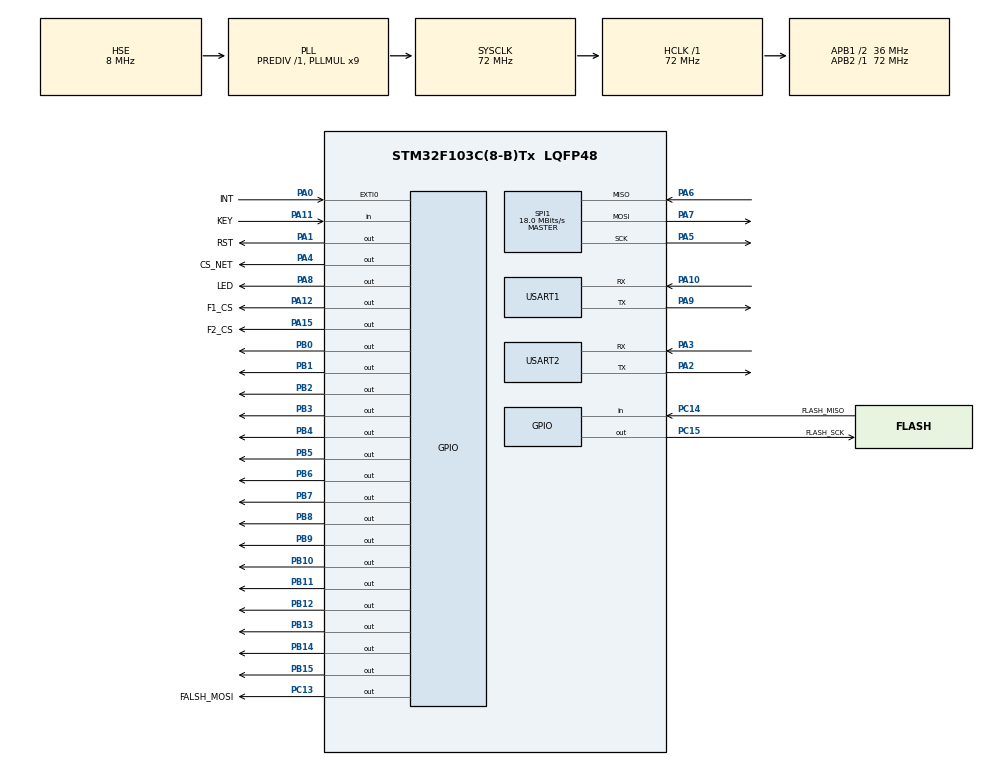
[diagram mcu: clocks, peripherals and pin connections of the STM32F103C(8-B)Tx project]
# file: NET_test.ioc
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Dma.MEMTOMEM.0.Direction=DMA_MEMORY_TO_MEMORY
Dma.MEMTOMEM.0.Instance=DMA1_Channel1
Dma.MEMTOMEM.0.MemDataAlignment=DMA_MDATAALIGN_BYTE
Dma.MEMTOMEM.0.MemInc=DMA_MINC_ENABLE
Dma.MEMTOMEM.0.Mode=DMA_NORMAL
Dma.MEMTOMEM.0.PeriphDataAlignment=DMA_PDATAALIGN_HALFWORD
Dma.MEMTOMEM.0.PeriphInc=DMA_PINC_ENABLE
Dma.MEMTOMEM.0.Priority=DMA_PRIORITY_LOW
Dma.Request0=MEMTOMEM
Dma.Request1=SPI1_RX
Dma.Request2=SPI1_TX
Dma.SPI1_RX.1.Direction=DMA_PERIPH_TO_MEMORY
Dma.SPI1_RX.1.Instance=DMA1_Channel2
Dma.SPI1_RX.1.MemDataAlignment=DMA_MDATAALIGN_BYTE
Dma.SPI1_RX.1.MemInc=DMA_MINC_ENABLE
Dma.SPI1_RX.1.Mode=DMA_CIRCULAR
Dma.SPI1_RX.1.PeriphDataAlignment=DMA_PDATAALIGN_BYTE
Dma.SPI1_RX.1.PeriphInc=DMA_PINC_DISABLE
Dma.SPI1_RX.1.Priority=DMA_PRIORITY_LOW
Dma.SPI1_TX.2.Direction=DMA_MEMORY_TO_PERIPH
Dma.SPI1_TX.2.Instance=DMA1_Channel3
Dma.SPI1_TX.2.MemDataAlignment=DMA_MDATAALIGN_BYTE
Dma.SPI1_TX.2.MemInc=DMA_MINC_ENABLE
Dma.SPI1_TX.2.Mode=DMA_CIRCULAR
Dma.SPI1_TX.2.PeriphDataAlignment=DMA_PDATAALIGN_BYTE
Dma.SPI1_TX.2.PeriphInc=DMA_PINC_DISABLE
Dma.SPI1_TX.2.Priority=DMA_PRIORITY_LOW
Mcu.Family=STM32F1
Mcu.Name=STM32F103C(8-B)Tx
Mcu.Package=LQFP48
NVIC.DMA1_Channel2_IRQn=true\:0\:0\:false\:false\:true\:false\:true
NVIC.DMA1_Channel3_IRQn=true\:0\:0\:false\:false\:true\:false\:true
NVIC.EXTI0_IRQn=true\:1\:0\:true\:false\:true\:true\:true
NVIC.PriorityGroup=NVIC_PRIORITYGROUP_4
NVIC.TIM1_UP_IRQn=true\:0\:0\:false\:false\:true\:true\:true
NVIC.TIM3_IRQn=true\:0\:0\:false\:false\:true\:true\:true
NVIC.USART1_IRQn=true\:0\:0\:false\:false\:true\:true\:true
NVIC.USART2_IRQn=true\:0\:0\:false\:false\:true\:true\:true
PA0-WKUP.GPIO_Label=INT
PA0-WKUP.GPIO_PuPd=GPIO_PULLUP
PA0-WKUP.Signal=GPXTI0
PA1.GPIO_Label=RST
PA1.Signal=GPIO_Output
PA10.Mode=Asynchronous
PA10.Signal=USART1_RX
PA11.GPIO_Label=KEY
PA11.GPIO_PuPd=GPIO_PULLUP
PA11.Signal=GPIO_Input
PA12.GPIO_Label=F1_CS
PA12.GPIO_Speed=GPIO_SPEED_FREQ_LOW
PA12.PinState=GPIO_PIN_SET
PA12.Signal=GPIO_Output
PA13.Mode=Serial_Wire
PA13.Signal=SYS_JTMS-SWDIO
PA14.Mode=Serial_Wire
PA14.Signal=SYS_JTCK-SWCLK
PA15.GPIO_Label=F2_CS
PA15.PinState=GPIO_PIN_SET
PA15.Signal=GPIO_Output
PA2.Mode=Asynchronous
PA2.Signal=USART2_TX
PA3.Mode=Asynchronous
PA3.Signal=USART2_RX
PA4.GPIO_Label=CS_NET
PA4.Signal=GPIO_Output
PA5.Mode=Full_Duplex_Master
PA5.Signal=SPI1_SCK
PA6.Mode=Full_Duplex_Master
PA6.Signal=SPI1_MISO
PA7.Mode=Full_Duplex_Master
PA7.Signal=SPI1_MOSI
PA8.GPIO_Label=LED
PA8.Signal=GPIO_Output
PA9.Mode=Asynchronous
PA9.Signal=USART1_TX
PB0.Signal=GPIO_Output
PB1.Signal=GPIO_Output
PB10.Signal=GPIO_Output
PB11.Signal=GPIO_Output
PB12.Signal=GPIO_Output
PB13.Signal=GPIO_Output
PB14.Signal=GPIO_Output
PB15.Signal=GPIO_Output
PB2.Signal=GPIO_Output
PB3.Signal=GPIO_Output
PB4.Signal=GPIO_Output
PB5.Signal=GPIO_Output
PB6.Signal=GPIO_Output
PB7.Signal=GPIO_Output
PB8.Signal=GPIO_Output
PB9.Signal=GPIO_Output
PC13-TAMPER-RTC.GPIO_Label=FALSH_MOSI
PC13-TAMPER-RTC.Signal=GPIO_Output
PC14-OSC32_IN.GPIO_Label=FLASH_MISO
PC14-OSC32_IN.Signal=GPIO_Input
PC15-OSC32_OUT.GPIO_Label=FLASH_SCK
PC15-OSC32_OUT.Signal=GPIO_Output
PD0-OSC_IN.Mode=HSE-External-Oscillator
PD0-OSC_IN.Signal=RCC_OSC_IN
PD1-OSC_OUT.Mode=HSE-External-Oscillator
PD1-OSC_OUT.Signal=RCC_OSC_OUT
ProjectManager.HeapSize=0x200
ProjectManager.StackSize=0x400
ProjectManager.TargetToolchain=MDK-ARM V5.27
RCC.AHBFreq_Value=72000000
RCC.APB1CLKDivider=RCC_HCLK_DIV2
RCC.APB1Freq_Value=36000000
RCC.APB1TimFreq_Value=72000000
RCC.APB2Freq_Value=72000000
RCC.APB2TimFreq_Value=72000000
RCC.HCLKFreq_Value=72000000
RCC.PLLMUL=RCC_PLL_MUL9
RCC.PLLSourceVirtual=RCC_PLLSOURCE_HSE
RCC.SYSCLKFreq_VALUE=72000000
RCC.SYSCLKSource=RCC_SYSCLKSOURCE_PLLCLK
RCC.USBFreq_Value=72000000
SPI1.BaudRatePrescaler=SPI_BAUDRATEPRESCALER_4
SPI1.CalculateBaudRate=18.0 MBits/s
SPI1.Direction=SPI_DIRECTION_2LINES
SPI1.Mode=SPI_MODE_MASTER
SPI1.VirtualType=VM_MASTER
TIM2.AutoReloadPreload=TIM_AUTORELOAD_PRELOAD_ENABLE
TIM2.Period=99
TIM2.Prescaler=71
USART1.VirtualMode=VM_ASYNC
USART2.VirtualMode=VM_ASYNC
VP_TIM1_VS_ClockSourceINT.Mode=Internal
VP_TIM2_VS_ClockSourceINT.Mode=Internal
VP_TIM3_VS_ClockSourceINT.Mode=Internal
board=custom

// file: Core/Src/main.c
/* USER CODE BEGIN Header */
/**
  ******************************************************************************
  * @file           : main.c
  * @brief          : Main program body
  ******************************************************************************
  * @attention
  *
  * <h2><center>&copy; Copyright (c) 2026 STMicroelectronics.
  * All rights reserved.</center></h2>
  *
  * This software component is licensed by ST under BSD 3-Clause license,
  * the "License"; You may not use this file except in compliance with the
  * License. You may obtain a copy of the License at:
  *                        opensource.org/licenses/BSD-3-Clause
  *
  ******************************************************************************
  */
/* USER CODE END Header */
#include "main.h"
#include "dma.h"
#include "spi.h"
#include "tim.h"
#include "usart.h"
#include "gpio.h"

/* USER CODE BEGIN Includes */
#include "w5500_port.h"
#include "netcfg.h"
#include "http_server.h"
#include "discovery.h"
#include "flash_spi.h"
#include "Fontlib.h"
/* USER CODE END Includes */

void SystemClock_Config(void);

int main(void)
{

  /* MCU Configuration--------------------------------------------------------*/

  /* Reset of all peripherals, Initializes the Flash interface and the Systick. */
  HAL_Init();

  /* Configure the system clock */
  SystemClock_Config();

  /* Initialize all configured peripherals */
  MX_GPIO_Init();
  MX_DMA_Init();
  MX_SPI1_Init();
  MX_TIM1_Init();
  MX_TIM3_Init();
  MX_USART1_UART_Init();
  MX_USART2_UART_Init();
  MX_TIM2_Init();
  /* USER CODE BEGIN 2 */
  FLASH_SPI_Init();
  /* 字库 Flash 首次读取前空读一次，避免第一个字读出全 0xFF */
  {
    uint8_t dummy_font[32];
    (void)Read_One_Font(0xA1A1u, dummy_font, FONT_SIZE_15x16);
  }
  if (w5500_port_init() == 0)
  {
    Error_Handler();
  }
  netcfg_init();
  http_server_init();
  discovery_init();
  /* USER CODE END 2 */

  /* Infinite loop */
  while (1)
  {

    /* USER CODE BEGIN 3 */
    http_server_poll();
    netcfg_poll();
    discovery_poll();
    /* 读取并清除网络事件标志；LED 交由 discovery 诊断指示独占 */
    (void)w5500_int_event_take();
  }
  /* USER CODE END 3 */
}

void SystemClock_Config(void)
{
  RCC_OscInitTypeDef RCC_OscInitStruct = {0};
  RCC_ClkInitTypeDef RCC_ClkInitStruct = {0};

  /** Initializes the RCC Oscillators according to the specified parameters
  * in the RCC_OscInitTypeDef structure.
  */
  RCC_OscInitStruct.OscillatorType = RCC_OSCILLATORTYPE_HSE;
  RCC_OscInitStruct.HSEState = RCC_HSE_ON;
  RCC_OscInitStruct.HSEPredivValue = RCC_HSE_PREDIV_DIV1;
  RCC_OscInitStruct.HSIState = RCC_HSI_ON;
  RCC_OscInitStruct.PLL.PLLState = RCC_PLL_ON;
  RCC_OscInitStruct.PLL.PLLSource = RCC_PLLSOURCE_HSE;
  RCC_OscInitStruct.PLL.PLLMUL = RCC_PLL_MUL9;
  if (HAL_RCC_OscConfig(&RCC_OscInitStruct) != HAL_OK)
  {
    Error_Handler();
  }
  /** Initializes the CPU, AHB and APB buses clocks
  */
  RCC_ClkInitStruct.ClockType = RCC_CLOCKTYPE_HCLK|RCC_CLOCKTYPE_SYSCLK
                              |RCC_CLOCKTYPE_PCLK1|RCC_CLOCKTYPE_PCLK2;
  RCC_ClkInitStruct.SYSCLKSource = RCC_SYSCLKSOURCE_PLLCLK;
  RCC_ClkInitStruct.AHBCLKDivider = RCC_SYSCLK_DIV1;
  RCC_ClkInitStruct.APB1CLKDivider = RCC_HCLK_DIV2;
  RCC_ClkInitStruct.APB2CLKDivider = RCC_HCLK_DIV1;

  if (HAL_RCC_ClockConfig(&RCC_ClkInitStruct, FLASH_LATENCY_2) != HAL_OK)
  {
    Error_Handler();
  }
}

void Error_Handler(void)
{
  __disable_irq();
  while (1)
  {
  }
}

/************************ (C) COPYRIGHT STMicroelectronics *****END OF FILE****/
